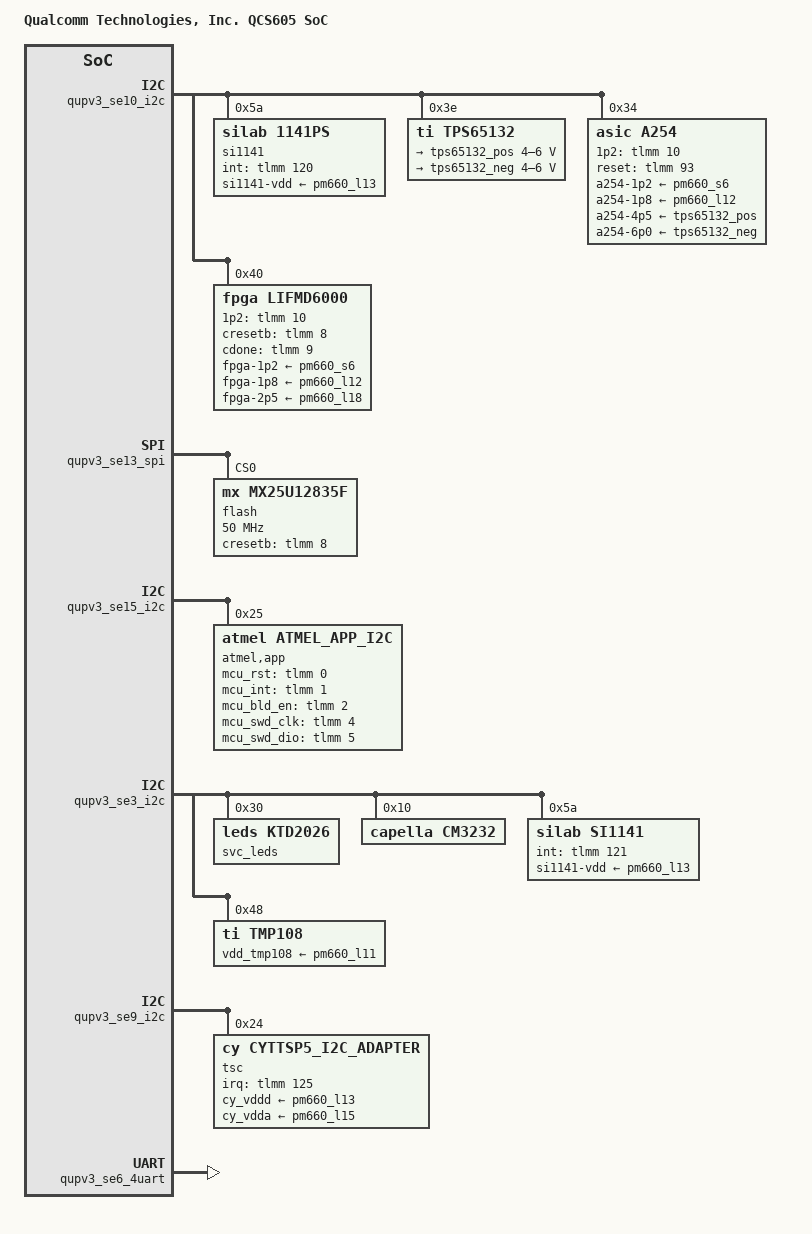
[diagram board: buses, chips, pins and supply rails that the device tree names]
/*
 * Copyright (c) 2018, The Linux Foundation. All rights reserved.
 *
 * This program is free software; you can redistribute it and/or modify
 * it under the terms of the GNU General Public License version 2 and
 * only version 2 as published by the Free Software Foundation.
 *
 * This program is distributed in the hope that it will be useful,
 * but WITHOUT ANY WARRANTY; without even the implied warranty of
 * MERCHANTABILITY or FITNESS FOR A PARTICULAR PURPOSE.  See the
 * GNU General Public License for more details.
 */

#include "qcs605.dtsi"
#include "pm8005.dtsi"
#include "qcs605-pm660-pm8005-regulator.dtsi"
#include "qcs605-lc-sde-display.dtsi"

/ {
	model = "Qualcomm Technologies, Inc. QCS605 SoC";
	compatible = "qcom,qcs605";

	chosen {
		bootargs = "core_ctl_disable_cpumask=0-3";
	};

	cpus {
		/delete-node/ cpu@200;
		/delete-node/ cpu@300;
		/delete-node/ cpu@400;
		/delete-node/ cpu@500;

		cpu-map {
			cluster0 {
				/delete-node/ core2;
				/delete-node/ core3;
				/delete-node/ core4;
				/delete-node/ core5;
			};
		};
	};
};

&soc {
	/delete-node/ jtagmm@7240000;
	/delete-node/ jtagmm@7340000;
	/delete-node/ jtagmm@7440000;
	/delete-node/ jtagmm@7540000;
	/delete-node/ cti@7220000;
	/delete-node/ cti@7320000;
	/delete-node/ cti@7420000;
	/delete-node/ cti@7520000;
	/delete-node/ etm@7240000;
	/delete-node/ etm@7340000;
	/delete-node/ etm@7440000;
	/delete-node/ etm@7540000;
	cpuss_dump {
		/delete-node/ qcom,l1_i_cache200;
		/delete-node/ qcom,l1_i_cache300;
		/delete-node/ qcom,l1_i_cache400;
		/delete-node/ qcom,l1_i_cache500;
		/delete-node/ qcom,l1_d_cache200;
		/delete-node/ qcom,l1_d_cache300;
		/delete-node/ qcom,l1_d_cache400;
		/delete-node/ qcom,l1_d_cache500;
		/delete-node/ qcom,l1_tlb_dump200;
		/delete-node/ qcom,l1_tlb_dump300;
		/delete-node/ qcom,l1_tlb_dump400;
		/delete-node/ qcom,l1_tlb_dump500;
	};

	devfreq_memlat_0: qcom,cpu0-memlat-mon {
		qcom,cpulist = <&CPU0 &CPU1>;
	};

	devfreq_l3lat_0: qcom,cpu0-l3lat-mon {
		qcom,cpulist = <&CPU0 &CPU1>;
	};
	devfreq_compute0: qcom,devfreq-compute0 {
		qcom,cpulist = <&CPU0 &CPU1>;
	};

	funnel_apss: funnel@7800000 {
		ports {
			/delete-node/ port@3;
			/delete-node/ port@4;
			/delete-node/ port@5;
			/delete-node/ port@6;
		};
	};

	qcom,lpm-levels {
		qcom,pm-cluster@0 {
			qcom,pm-cpu@0 {
				qcom,cpu = <&CPU0 &CPU1>;
			};
		};
	};

	qcom,chd_silver {
		compatible = "qcom,core-hang-detect";
		label = "silver";
		qcom,threshold-arr = <0x17e00058 0x17e10058>;
		qcom,config-arr = <0x17e00060 0x17e10060>;
	};

	gpio_keys {
		compatible = "gpio-keys";
		label = "gpio-keys";
		status = "disabled";

		pinctrl-names = "default";
		pinctrl-0 = <&pm8005_vol_up_default>;

		vol_up {
			label = "volume_up";
			gpios = <&pm8005_gpios 2 0>;
			linux,input-type = <1>;
			linux,code = <115>;
			gpio-key,wakeup;
			debounce-interval = <15>;
			linux,can-disable;
		};
	};
};

&pm8005_gpios {
	pm8005_vol_up {
		pm8005_vol_up_default: pm8005_vol_up_default {
			pins = "gpio2";
			function = "normal";
			input-enable;
			bias-pull-up;
			power-source = <0>;
		};
	};
};

&pm660_temp_alarm {
	cooling-maps {
		/delete-node/ trip0_cpu2;
		/delete-node/ trip0_cpu3;
		/delete-node/ trip0_cpu4;
		/delete-node/ trip0_cpu5;
		/delete-node/ trip1_cpu2;
		/delete-node/ trip1_cpu3;
		/delete-node/ trip1_cpu4;
		/delete-node/ trip1_cpu5;
	};
};

&thermal_zones {

	xo-therm-step {
		cooling-maps {
			/delete-node/ skin_cpu2;
			/delete-node/ skin_cpu3;
			/delete-node/ skin_cpu4;
			/delete-node/ skin_cpu5;
		};
	};
};

&spmi_bus {
	/delete-node/ qcom,pm660l@2;
	/delete-node/ qcom,pm660l@3;
};

&icnss {
	/delete-property/ vdd-3.3-ch0-supply;
	vdd-0.8-cx-mx-supply = <&pm660_l1>;
	vdd-1.8-xo-supply = <&pm660_l9>;
	vdd-1.3-rfa-supply = <&pm660_l3>;
};

&thermal_zones {
	pm660l_tz {
		/delete-property/ thermal-sensors;
	};
};

&soc {
	qcom,turing@8300000 {
		/delete-property/ vdd_cx-supply;
		vdd_cx-supply = <&pm8005_s1_level>;
	};

	qcom,lpass@62400000 {
		/delete-property/ vdd_cx-supply;
		vdd_cx-supply = <&pm8005_s1_level>;
	};
};

&clock_cpucc {
	/delete-property/ vdd_l3_mx_ao-supply;
	/delete-property/ vdd_pwrcl_mx_ao-supply;
	vdd_l3_mx_ao-supply = <&pm660_s2_level_ao>;
	vdd_pwrcl_mx_ao-supply = <&pm660_s2_level_ao>;
};

&clock_gcc {
	/delete-property/ vdd_cx-supply;
	/delete-property/ vdd_cx_ao-supply;
	vdd_cx-supply = <&pm8005_s1_level>;
	vdd_cx_ao-supply = <&pm8005_s1_level_ao>;
};

&clock_videocc {
	/delete-property/ vdd_cx-supply;
	vdd_cx-supply = <&pm8005_s1_level>;
};

&clock_camcc {
	/delete-property/ vdd_mx-supply;
	/delete-property/ vdd_cx-supply;
	vdd_cx-supply = <&pm8005_s1_level>;
	vdd_mx-supply = <&pm660_s2_level>;
};

&clock_dispcc {
	/delete-property/ vdd_cx-supply;
	vdd_cx-supply = <&pm8005_s1_level>;
};

&clock_gpucc {
	/delete-property/ vdd_mx-supply;
	/delete-property/ vdd_cx-supply;
	vdd_cx-supply = <&pm8005_s1_level>;
	vdd_mx-supply = <&pm660_s2_level>;
};

&pil_modem {
	/delete-property/ vdd_mx-supply;
	/delete-property/ vdd_cx-supply;
	/delete-property/ vdd_mss-supply;
	vdd_cx-supply = <&pm8005_s1_level>;
	vdd_mx-supply = <&pm660_s2_level>;
	vdd_mss-supply = <&pm8005_s1_level>;
};

&clock_gfx {
	/delete-property/ vdd_gfx-supply;
	vdd_gfx-supply = <&pm8005_s2>;
};

&gpu_cx_gdsc {
	/delete-property/ parent-supply;
	parent-supply = <&pm8005_s1_level>;
};

&gpu_gx_gdsc {
	/delete-property/ parent-supply;
	parent-supply = <&pm8005_s2>;
};

&mdss_mdp {
	connectors = <&sde_rscc &sde_wb &dsi_a254_video_display>;
	#cooling-cells = <2>;
};

&sde_dp {
	status = "disabled";
};

/*&tlmm {
	lt9611_vcc_eldo_default: lt9611_vcc_eldo_default {
		mux {
			pins = "gpio53";
			function = "gpio";
		};
		config {
			pins = "gpio53";
			drive-strength = <8>;
			bias-disable = <0>;
			output-low;
		};
	};
};

&soc {
	lt9611_vcc_eldo: lt9611-gpio-regulator@0 {
		compatible = "regulator-fixed";
		regulator-name = "lt9611_vcc_eldo";
		regulator-min-microvolt = <3300000>;
		regulator-max-microvolt = <3300000>;
		regulator-enable-ramp-delay = <233>;
		gpio = <&tlmm 53 0>;
		enable-active-high;
		pinctrl-names = "default";
		pintctrl-0 = <&lt9611_vcc_eldo_default>;
	};
};*/

&qupv3_se10_i2c {
	status = "okay";

	si1141@5a {
		compatible = "silab,1141ps";
		reg = <0x5a>;
		si1141,int-gpio = <&tlmm 120 0>;
		si1141-vdd-supply = <&pm660_l13>;
		mic-fpc;
	};

	tps65132@3e {
		compatible = "ti,tps65132";
		reg = <0x3e>;

		regulators {
			tps65132_pos: pos-boost {
				regulator-name  = "tps65132_pos";
				regulator-min-microvolt = <4000000>;
				regulator-max-microvolt = <6000000>;
				ti,discharge-enable;
				ti,enable-time = <800>;
				ti,current-limit = <80000>;
				ti,en-gpio = <&tlmm 75 0>;
			};

			tps65132_neg: neg-boost {
				regulator-name = "tps65132_neg";
				regulator-min-microvolt = <4000000>;
				regulator-max-microvolt = <6000000>;
				ti,discharge-enable;
				ti,enable-time = <800>;
				ti,current-limit = <80000>;
				ti,en-gpio = <&tlmm 76 0>;
			};
		};
	};

	a254@34 {
		compatible = "asic,a254";
		reg = <0x34>;
		a254-1p2-supply = <&pm660_s6>; /* 1.35v */
		a254-1p8-supply = <&pm660_l12>; /* 1.8v */
		a254-4p5-supply = <&tps65132_pos>;
		a254-6p0-supply = <&tps65132_neg>;
		a254,1p2-gpio = <&tlmm 10 0>; /* enable 1.2v gpio */
		a254,reset-gpio = <&tlmm 93 0>; /* reset a254 */
		a254,reset-high-detect;
		pinctrl-names = "default";
		pinctrl-0 = <&borad_id_pins_default &disp_id_pin_default>;
	};

	lifmd6000@40 {
		compatible = "fpga,lifmd6000";
		reg = <0x40>;
		fpga-1p2-supply = <&pm660_s6>; /* 1.35v */
		fpga-1p8-supply = <&pm660_l12>; /* 1.8v */
		fpga-2p5-supply = <&pm660_l18>; /* 2.5v */
		fpga,1p2-gpio = <&tlmm 10 0>; /* enable 1.2v gpio */
		fpga,cresetb-gpio = <&tlmm 8 0>; /* fpga CRESETB pin */
		fpga,cdone-gpio = <&tlmm 9 0>; /* fpga CDONE pin */
		fpga,programming-enable;
		pinctrl-names = "default";
		pinctrl-0 = <&fpga_cdone_pins_default>;
	};
};

&qupv3_se13_spi {
	status = "ok";

	flash: mx25u12835f@0 {
		compatible = "mx,mx25u12835f";
		reg = <0>;
		spi-max-frequency = <50000000>;
		fpga,cresetb-gpio = <&tlmm 8 0>;
	};
};

&qupv3_se15_i2c {
  status = "okay";

	atmel,app@25 {
		compatible = "atmel,atmel_app_i2c";
		reg = <0x25>;
		mcu_rst-gpio = <&tlmm 0 0x0>;
		mcu_int-gpio = <&tlmm 1 0x0>;
		mcu_bld_en-gpio = <&tlmm 2 0x0>;
		mcu_swd_clk-gpio = <&tlmm 4 0x0>;
		mcu_swd_dio-gpio = <&tlmm 5 0x0>;
	};
};

&qupv3_se3_i2c {
        status = "okay";
        svc_leds@30{
			compatible = "leds,ktd2026";
			reg = <0x30>;
		   };


	cm3232@10 {
		compatible = "capella,cm3232";
		reg = <0x10>;
	};

	si1141@5a {
		compatible = "silab,si1141";
		reg = <0x5a>;
		si1141,int-gpio = <&tlmm 121 0>;
		si1141-vdd-supply = <&pm660_l13>;
		front-fpc;
	};


        tmp108@48 {
		compatible = "ti,tmp108";
		reg = <0x48>;
                vdd_tmp108-supply = <&pm660_l11>;
	};

};

&qupv3_se9_i2c {
	status = "ok";

	/* lt9611: lt,lt9611@3b {
		compatible = "lt,lt9611";
		reg = <0x3b>;
		interrupt-parent = <&tlmm>;
		interrupts = <96 0>;
		interrupt-names = "lt_irq";
		lt,irq-gpio = <&tlmm 96 0x0>;
		lt,reset-gpio = <&tlmm 95 0x0>;
		lt,non-pluggable;
		lt,preferred-mode = "1920x1080";

		vdd-supply = <&pm660_l12>;
		vcc-supply = <&lt9611_vcc_eldo>;
		lt,supply-entries {
			#address-cells = <1>;
			#size-cells = <0>;

			lt,supply-entry@0 {
				reg = <0>;
				lt,supply-name = "vdd";
				lt,supply-min-voltage = <1800000>;
				lt,supply-max-voltage = <1800000>;
				lt,supply-enable-load = <200000>;
				lt,supply-post-on-sleep = <50>;
			};

			lt,supply-entry@1 {
				reg = <1>;
				lt,supply-name = "vcc";
				lt,supply-min-voltage = <3300000>;
				lt,supply-max-voltage = <3300000>;
				lt,supply-post-on-sleep = <50>;
			};
		};

		lt,customize-modes {
			lt,customize-mode-id@0 {
				lt,mode-h-active = <1920>;
				lt,mode-h-front-porch = <88>;
				lt,mode-h-pulse-width = <44>;
				lt,mode-h-back-porch = <148>;
				lt,mode-h-active-high;
				lt,mode-v-active = <1080>;
				lt,mode-v-front-porch = <4>;
				lt,mode-v-pulse-width = <5>;
				lt,mode-v-back-porch = <36>;
				lt,mode-v-active-high;
				lt,mode-refresh-rate = <60>;
				lt,mode-clock-in-khz = <148500>;
			};

			lt,customize-mode-id@1 {
				lt,mode-h-active = <3840>;
				lt,mode-h-front-porch = <176>;
				lt,mode-h-pulse-width = <88>;
				lt,mode-h-back-porch = <296>;
				lt,mode-h-active-high;
				lt,mode-v-active = <2160>;
				lt,mode-v-front-porch = <8>;
				lt,mode-v-pulse-width = <10>;
				lt,mode-v-back-porch = <72>;
				lt,mode-v-active-high;
				lt,mode-refresh-rate = <30>;
				lt,mode-clock-in-khz = <297000>;
			};
		};

		ports {
			#address-cells = <1>;
			#size-cells = <0>;

			port@0 {
				lt9611_in: endpoint {
					remote-endpoint = <&ext_dsi_out>;
				};
			};
		};
	}; */

	tsc@24 {
		compatible = "cy,cyttsp5_i2c_adapter";
		reg = <0x24>;
		interrupt-parent = <&tlmm>;
		interrupts = <125 0x2>;
		cy,adapter_id = "cyttsp5_i2c_adapter";
		cy_vddd-supply = <&pm660_l13>; /* 1.8v */
		cy_vdda-supply = <&pm660_l15>; /* 3.0v */

		cy,core {
			cy,name = "cyttsp5_core";
			cy,irq_gpio = <125>;
			cy,rst_gpio = <99>;
			cy,hid_desc_register = <1>;
			/* CY_CORE_FLAG_RESTORE_PARAMETERS */
			cy,flags = <0x0>;
			/* CY_CORE_EWG_NONE */
			cy,easy_wakeup_gesture = <1>;

			cy,mt {
				cy,name = "cyttsp5_mt";
				cy,inp_dev_name = "cyttsp5_mt";
				cy,flags = <0x10>;
				cy,abs =
				/* ABS_MT_POSITION_X, CY_ABS_MIN_X, CY_ABS_MAX_X, 0, 0 */
				<0x35 0 880 0 0
				/* ABS_MT_POSITION_Y, CY_ABS_MIN_Y, CY_ABS_MAX_Y, 0, 0 */
				0x36 0 1280 0 0
				/* ABS_MT_PRESSURE, CY_ABS_MIN_P, CY_ABS_MAX_P, 0, 0 */
				0x3a 0 255 0 0
				/* CY_IGNORE_VALUE, CY_ABS_MIN_W, CY_ABS_MAX_W, 0, 0 */
				0xffff 0 255 0 0
				/* ABS_MT_TRACKING_ID, CY_ABS_MIN_T, CY_ABS_MAX_T, 0, 0 */
				0x39 0 15 0 0
				/* ABS_MT_TOUCH_MAJOR, 0, 255, 0, 0 */
				0x30 0 255 0 0
				/* ABS_MT_TOUCH_MINOR, 0, 255, 0, 0 */
				0x31 0 255 0 0
				/* ABS_MT_ORIENTATION, -127, 127, 0, 0 */
				0x34 0xffffff81 127 0 0
				/* ABS_MT_TOOL_TYPE, 0, MT_TOOL_MAX, 0, 0 */
				0x37 0 1 0 0
				/* ABS_DISTANCE, 0, 255, 0, 0 */
				0x19 0 255 0 0>;

				cy,vkeys_x = <720>;
				cy,vkeys_y = <1280>;

				cy,virtual_keys = /* KeyCode CenterX CenterY Width Height */
				/* KEY_BACK */
				<158 1360 90 160 180
				/* KEY_MENU */
				139 1360 270 160 180
				/* KEY_HOMEPAGE */
				172 1360 450 160 180
				/* KEY SEARCH */
				217 1360 630 160 180>;
			};
		};
	};
};

/*
&soc {
	qcom,dsi-display@0 {

		ports {
			port@0 {
				endpoint {
					remote-endpoint = <&lt9611_in>;
				};
			};
		};
	};
};
*/

&pm660_pdphy {
	/delete-property/ vdd-pdphy-supply;
};

&qusb_phy0 {
	vdd-supply = <&pm660_l6>;
	vdda33-supply = <&pm660_l17>;
};

&usb_qmp_dp_phy {
	vdd-supply = <&pm660_l6>;  /* 0.88v */
	core-supply = <&pm660_l2>; /* 1.2v */
};

&int_codec {
	/delete-property/ qcom,ext-disp-audio-rx;
};

&bluetooth {
	qca,bt-vdd-core-supply = <&pm660_l9>;
	qca,bt-vdd-pa-supply = <&pm660_l3>;
	/delete-property/ qca,bt-vdd-ldo-supply;
};

&qupv3_se6_4uart {
	status = "ok";
};

&dsi_sim_vid {
	qcom,panel-supply-entries = <&dsi_panel_pwr_supply>;
	qcom,mdss-dsi-bl-pmic-control-type = "bl_ctrl_dcs";
};

&dsi_a254_nhd_video {
	qcom,panel-supply-entries = <&dsi_panel_pwr_supply>;
	qcom,mdss-dsi-bl-pmic-control-type = "bl_ctrl_pwm";
	qcom,mdss-dsi-mode-sel-gpio-state = "single_port";
	qcom,platform-reset-gpio = <&tlmm 9 0>;
};

&dsi_a254_video_display {
	qcom,dsi-display-active;
};
